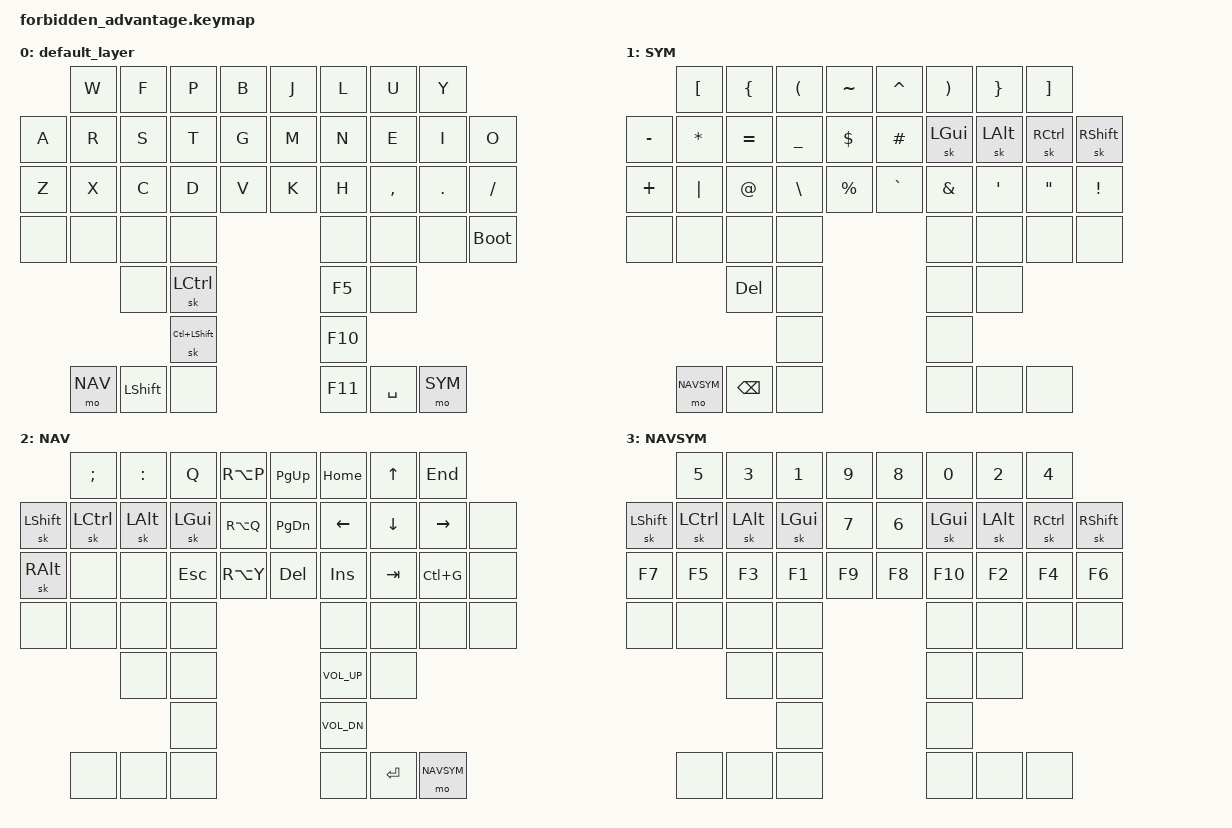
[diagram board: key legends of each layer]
#include <behaviors.dtsi>
#include <dt-bindings/zmk/keys.h>

#define DEFAULT 0
#define SYM   1
#define NAV   2
#define NAVSYM   3
#define ___  &none

/ {
    combos {
        compatible = "zmk,combos";
        combo_f11 {
            timeout-ms = <30>;
            key-positions = <20 21>;
            bindings = <&kp F11>;
            layers = <NAVSYM>;
        };
        combo_f12 {
            timeout-ms = <30>;
            key-positions = <24 25>;
            bindings = <&kp F12>;
            layers = <NAVSYM>;
        };
        combo_q {
            timeout-ms = <30>;
            key-positions = <0 1>;
            bindings = <&kp Q>;
            layers = <DEFAULT>;
        };
    };

    keymap {
        compatible = "zmk,keymap";

        default_layer {
            bindings = <

               &kp W       &kp F       &kp P       &kp B        &kp J       &kp L      &kp U       &kp Y
    &kp A      &kp R       &kp S       &kp T       &kp G        &kp M       &kp N      &kp E       &kp I      &kp O
    &kp Z      &kp X       &kp C       &kp D       &kp V        &kp K       &kp H      &kp COMMA   &kp DOT    &kp SLASH
    ___        ___         ___         ___                                  ___        ___         ___        &bootloader

                           ___         &sk LCTRL                            &kp F5     ___
                                       &sk LC(LSHFT)                        &kp F10
               &mo NAV     &kp LSHFT   ___                                  &kp F11    &kp SPACE   &mo SYM

            >;
        };

        SYM {
            bindings = <

               &kp LBKT    &kp LBRC    &kp LPAR    &kp TILDE    &kp CARET   &kp RPAR   &kp RBRC    &kp RBKT
    &kp MINUS  &kp STAR    &kp EQUAL   &kp UNDER   &kp DLLR     &kp HASH    &sk LGUI   &sk LALT    &sk RCTRL  &sk RSHFT
    &kp PLUS   &kp PIPE    &kp AT      &kp BSLH    &kp PRCNT    &kp GRAVE   &kp AMPS   &kp SQT     &kp DQT    &kp EXCL
    ___        ___         ___         ___                                  ___        ___         ___        ___

                           &kp DEL     ___                                  ___        ___
                                       ___                                  ___
               &mo NAVSYM  &kp BSPC    ___                                  ___        ___         ___

            >;
        };


        NAV {
            bindings = <

               &kp SEMI    &kp COLON   &kp Q       &kp RA(P)    &kp PG_UP   &kp HOME   &kp UP      &kp END
    &sk LSHFT  &sk LCTRL   &sk LALT    &sk LGUI    &kp RA(Q)    &kp PG_DN   &kp LEFT   &kp DOWN    &kp RIGHT  ___
    &sk RALT   ___         ___         &kp ESC     &kp RA(Y)    &kp DEL     &kp INS    &kp TAB     &kp LC(G)  ___
    ___        ___         ___         ___                                  ___        ___         ___        ___

                           ___         ___                                  &kp K_VOL_UP   ___
                                       ___                                  &kp K_VOL_DN
               ___         ___         ___                                  ___            &kp RET     &mo NAVSYM

            >;
        };


        NAVSYM {
            bindings = <
               &kp N5      &kp N3      &kp N1      &kp N9       &kp N8      &kp N0     &kp N2      &kp N4
    &sk LSHFT  &sk LCTRL   &sk LALT    &sk LGUI    &kp N7       &kp N6      &sk LGUI   &sk LALT    &sk RCTRL  &sk RSHFT
    &kp F7     &kp F5      &kp F3      &kp F1      &kp F9       &kp F8      &kp F10    &kp F2      &kp F4     &kp F6
    ___        ___         ___         ___                                  ___        ___         ___        ___

                           ___         ___                                  ___        ___
                                       ___                                  ___
               ___         ___         ___                                  ___        ___     ___

            >;
        };

    };
};
